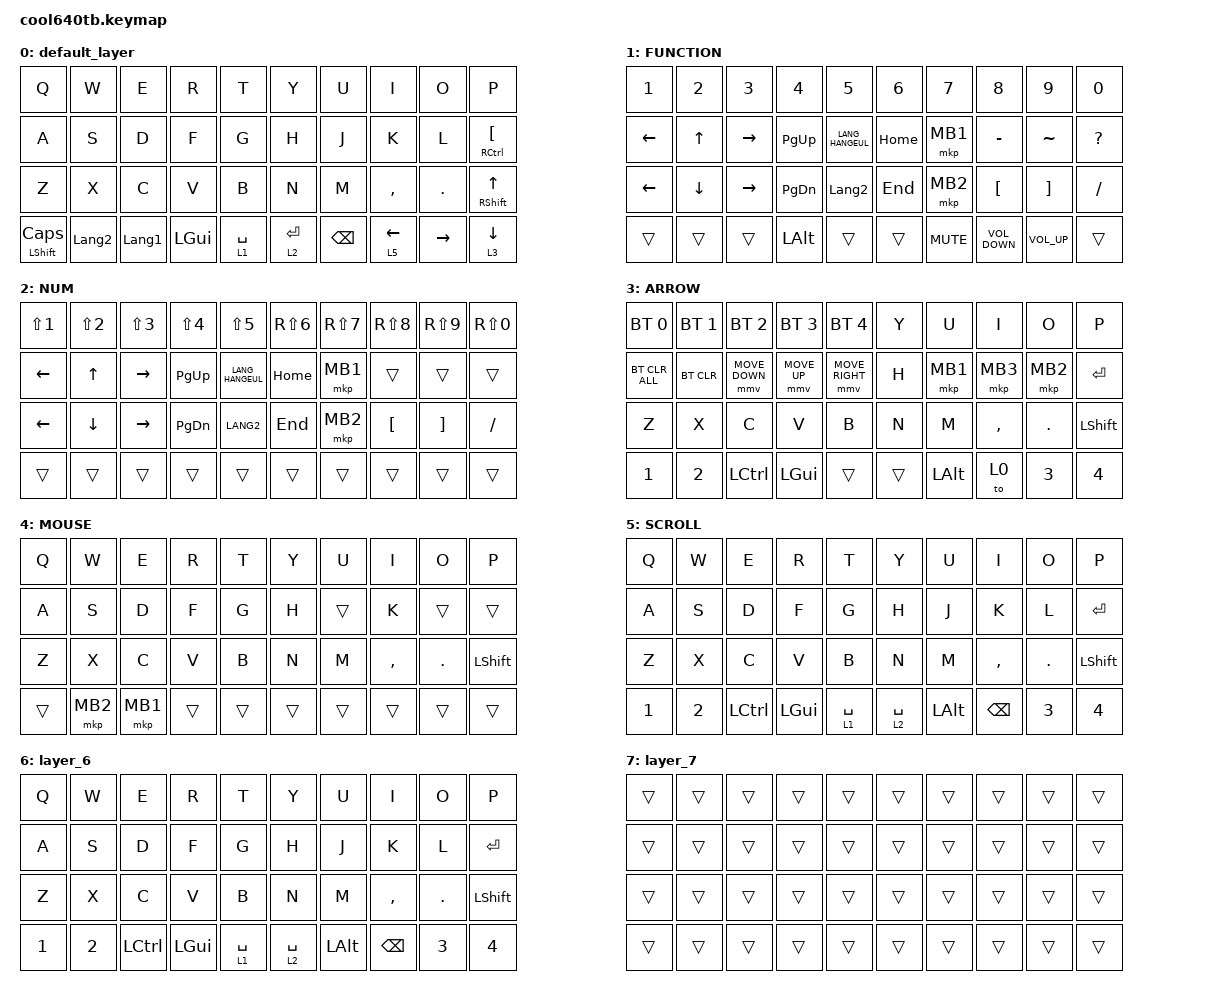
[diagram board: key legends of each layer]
// #define ZMK_POINTING_DEFAULT_MOVE_VAL 800 
// #define ZMK_POINTING_DEFAULT_SCRL_VAL 120

#include <behaviors.dtsi>
#include <dt-bindings/zmk/bt.h>
#include <dt-bindings/zmk/keys.h>
#include <dt-bindings/zmk/pointing.h>

// #include <dt-bindings/zmk/pointing.h>

#define MOUSE 4
#define SCROLL 5
#define NUM 6

&mt {
    flavor = "balanced";
    quick-tap-ms = <0>;
};

/ {
    combos {
        compatible = "zmk,combos";

        tab {
            bindings = <&kp ESCAPE>;
            key-positions = <0 1>;
            layers = <0>;
        };

        shift_tab {
            bindings = <&kp TAB>;
            key-positions = <10 11>;
            require-prior-idle-ms = <0>;
            layers = <0>;
        };

        double_quotation {
            bindings = <&kp CAPS>;
            key-positions = <20 21>;
            layers = <0>;
        };

        eq {
            bindings = <&bt BT_CLR_ALL>;
            key-positions = <8 9>;
            layers = <2>;
        };

        BS {
            bindings = <&kp BACKSPACE>;
            key-positions = <8 9>;
            layers = <0>;
        };
    };

    macros {
        to_layer_0: to_layer_0 {
            compatible = "zmk,behavior-macro-one-param";
            #binding-cells = <1>;
            bindings = <&to 0 &macro_param_1to1 &kp MACRO_PLACEHOLDER>;
            label = "TO_LAYER_0";
        };
    };

    behaviors {
        lt_to_layer_0: lt_to_layer_0 {
            compatible = "zmk,behavior-hold-tap";
            label = "LAYER_TAP_TO_0";
            bindings = <&mo>, <&to_layer_0>;

            #binding-cells = <2>;
            tapping-term-ms = <200>;
        };
    };

    keymap {
        compatible = "zmk,keymap";

        default_layer {
            bindings = <
&kp Q                &kp W           &kp E           &kp R     &kp T        &kp Y        &kp U          &kp I             &kp O       &kp P
&kp A                &kp S           &kp D           &kp F     &kp G        &kp H        &kp J          &kp K             &kp L       &mt RIGHT_CONTROL LEFT_BRACKET
&kp Z                &kp X           &kp C           &kp V     &kp B        &kp N        &kp M          &kp COMMA         &kp PERIOD  &mt RIGHT_SHIFT UP_ARROW
&mt LEFT_SHIFT CLCK  &kp LANGUAGE_2  &kp LANGUAGE_1  &kp LGUI  &lt 1 SPACE  &lt 2 ENTER  &kp BACKSPACE  &lt 5 LEFT_ARROW  &kp RIGHT   &lt 3 DOWN_ARROW
            >;
        };

        FUNCTION {
            bindings = <
&kp N1    &kp N2        &kp N3     &kp N4         &kp N5            &kp N6    &kp N7      &kp N8             &kp N9             &kp N0
&kp LEFT  &kp UP_ARROW  &kp RIGHT  &kp PAGE_UP    &kp LANG_HANGEUL  &kp HOME  &mkp MB1    &kp MINUS          &kp TILDE          &kp QMARK
&kp LEFT  &kp DOWN      &kp RIGHT  &kp PAGE_DOWN  &kp LANGUAGE_2    &kp END   &mkp MB2    &kp LEFT_BRACKET   &kp RIGHT_BRACKET  &kp SLASH
&trans    &trans        &trans     &kp LEFT_ALT   &trans            &trans    &kp K_MUTE  &kp C_VOLUME_DOWN  &kp C_VOLUME_UP    &trans
            >;
        };

        NUM {
            bindings = <
&kp LS(NUMBER_1)  &kp LS(NUMBER_2)  &kp LS(NUMBER_3)  &kp LS(NUMBER_4)  &kp LS(N5)        &kp RS(NUMBER_6)  &kp RS(N7)  &kp RS(N8)        &kp RS(N9)         &kp RS(N0)
&kp LEFT          &kp UP            &kp RIGHT         &kp PAGE_UP       &kp LANG_HANGEUL  &kp HOME          &mkp MB1    &trans            &trans             &trans
&kp LEFT          &kp DOWN          &kp RIGHT         &kp PAGE_DOWN     &kp LANG2         &kp END           &mkp MB2    &kp LEFT_BRACKET  &kp RIGHT_BRACKET  &kp SLASH
&trans            &trans            &trans            &trans            &trans            &trans            &trans      &trans            &trans             &trans
            >;
        };

        ARROW {
            bindings = <
&bt BT_SEL 0    &bt BT_SEL 1  &bt BT_SEL 2      &bt BT_SEL 3  &bt BT_SEL 4     &kp Y   &kp U         &kp I      &kp O       &kp P
&bt BT_CLR_ALL  &bt BT_CLR    &mmv MOVE_DOWN    &mmv MOVE_UP  &mmv MOVE_RIGHT  &kp H   &mkp MB1      &mkp MB3   &mkp MB2    &kp ENTER
&kp Z           &kp X         &kp C             &kp V         &kp B            &kp N   &kp M         &kp COMMA  &kp PERIOD  &kp LEFT_SHIFT
&kp N1          &kp N2        &kp LEFT_CONTROL  &kp LEFT_GUI  &trans           &trans  &kp LEFT_ALT  &to 0      &kp N3      &kp N4
            >;
        };

        MOUSE {
            bindings = <
&kp Q   &kp W     &kp E     &kp R   &kp T   &kp Y   &kp U   &kp I      &kp O       &kp P
&kp A   &kp S     &kp D     &kp F   &kp G   &kp H   &trans  &kp K      &trans      &trans
&kp Z   &kp X     &kp C     &kp V   &kp B   &kp N   &kp M   &kp COMMA  &kp PERIOD  &kp LEFT_SHIFT
&trans  &mkp MB2  &mkp MB1  &trans  &trans  &trans  &trans  &trans     &trans      &trans
            >;
        };

        SCROLL {
            bindings = <
&kp Q   &kp W   &kp E             &kp R         &kp T        &kp Y        &kp U         &kp I          &kp O       &kp P
&kp A   &kp S   &kp D             &kp F         &kp G        &kp H        &kp J         &kp K          &kp L       &kp ENTER
&kp Z   &kp X   &kp C             &kp V         &kp B        &kp N        &kp M         &kp COMMA      &kp PERIOD  &kp LEFT_SHIFT
&kp N1  &kp N2  &kp LEFT_CONTROL  &kp LEFT_GUI  &lt 1 SPACE  &lt 2 SPACE  &kp LEFT_ALT  &kp BACKSPACE  &kp N3      &kp N4
            >;
        };

        layer_6 {
            bindings = <
&kp Q   &kp W   &kp E             &kp R         &kp T        &kp Y        &kp U         &kp I          &kp O       &kp P
&kp A   &kp S   &kp D             &kp F         &kp G        &kp H        &kp J         &kp K          &kp L       &kp ENTER
&kp Z   &kp X   &kp C             &kp V         &kp B        &kp N        &kp M         &kp COMMA      &kp PERIOD  &kp LEFT_SHIFT
&kp N1  &kp N2  &kp LEFT_CONTROL  &kp LEFT_GUI  &lt 1 SPACE  &lt 2 SPACE  &kp LEFT_ALT  &kp BACKSPACE  &kp N3      &kp N4
            >;
        };

        layer_7 {
            bindings = <
&trans  &trans  &trans  &trans  &trans  &trans  &trans  &trans  &trans  &trans
&trans  &trans  &trans  &trans  &trans  &trans  &trans  &trans  &trans  &trans
&trans  &trans  &trans  &trans  &trans  &trans  &trans  &trans  &trans  &trans
&trans  &trans  &trans  &trans  &trans  &trans  &trans  &trans  &trans  &trans
            >;
        };
    };
};
